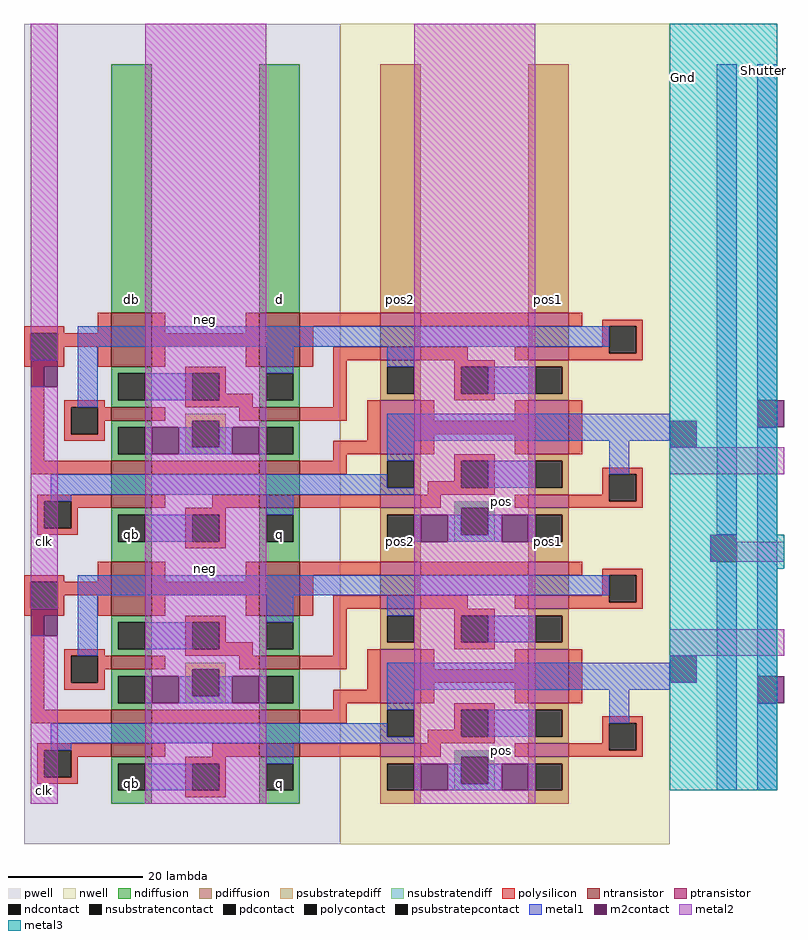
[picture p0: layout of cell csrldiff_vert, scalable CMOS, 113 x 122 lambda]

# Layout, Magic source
magic
tech scmos
<< nwell >>
rect -69 2979 -20 3101
<< pwell >>
rect -116 2979 -69 3101
<< ntransistor >>
rect -103 3050 -97 3058
rect -81 3050 -75 3058
rect -103 3042 -97 3044
rect -81 3042 -75 3044
rect -103 3034 -97 3036
rect -81 3034 -75 3036
rect -103 3029 -97 3031
rect -81 3029 -75 3031
rect -103 3013 -97 3021
rect -81 3013 -75 3021
rect -103 3005 -97 3007
rect -81 3005 -75 3007
rect -103 2997 -97 2999
rect -81 2997 -75 2999
rect -103 2992 -97 2994
rect -81 2992 -75 2994
<< ptransistor >>
rect -63 3056 -57 3058
rect -41 3056 -35 3058
rect -63 3051 -57 3053
rect -41 3051 -35 3053
rect -63 3037 -57 3045
rect -41 3037 -35 3045
rect -63 3029 -57 3031
rect -41 3029 -35 3031
rect -63 3019 -57 3021
rect -41 3019 -35 3021
rect -63 3014 -57 3016
rect -41 3014 -35 3016
rect -63 3000 -57 3008
rect -41 3000 -35 3008
rect -63 2992 -57 2994
rect -41 2992 -35 2994
<< ndiffusion >>
rect -103 3058 -97 3095
rect -81 3058 -75 3095
rect -103 3049 -97 3050
rect -103 3045 -102 3049
rect -98 3045 -97 3049
rect -103 3044 -97 3045
rect -81 3049 -75 3050
rect -81 3045 -80 3049
rect -76 3045 -75 3049
rect -81 3044 -75 3045
rect -103 3041 -97 3042
rect -103 3037 -102 3041
rect -98 3037 -97 3041
rect -81 3041 -75 3042
rect -81 3037 -80 3041
rect -76 3037 -75 3041
rect -103 3036 -97 3037
rect -81 3036 -75 3037
rect -103 3031 -97 3034
rect -81 3031 -75 3034
rect -103 3028 -97 3029
rect -103 3024 -102 3028
rect -98 3024 -97 3028
rect -103 3021 -97 3024
rect -81 3028 -75 3029
rect -81 3024 -80 3028
rect -76 3024 -75 3028
rect -81 3021 -75 3024
rect -103 3012 -97 3013
rect -103 3008 -102 3012
rect -98 3008 -97 3012
rect -103 3007 -97 3008
rect -81 3012 -75 3013
rect -81 3008 -80 3012
rect -76 3008 -75 3012
rect -81 3007 -75 3008
rect -103 3004 -97 3005
rect -103 3000 -102 3004
rect -98 3000 -97 3004
rect -81 3004 -75 3005
rect -81 3000 -80 3004
rect -76 3000 -75 3004
rect -103 2999 -97 3000
rect -81 2999 -75 3000
rect -103 2994 -97 2997
rect -81 2994 -75 2997
rect -103 2991 -97 2992
rect -103 2987 -102 2991
rect -98 2987 -97 2991
rect -103 2985 -97 2987
rect -81 2991 -75 2992
rect -81 2987 -80 2991
rect -76 2987 -75 2991
rect -81 2985 -75 2987
<< pdiffusion >>
rect -63 3058 -57 3095
rect -41 3058 -35 3095
rect -63 3053 -57 3056
rect -41 3053 -35 3056
rect -63 3050 -57 3051
rect -63 3046 -62 3050
rect -58 3046 -57 3050
rect -63 3045 -57 3046
rect -41 3050 -35 3051
rect -41 3046 -40 3050
rect -36 3046 -35 3050
rect -41 3045 -35 3046
rect -63 3036 -57 3037
rect -63 3032 -62 3036
rect -58 3032 -57 3036
rect -63 3031 -57 3032
rect -41 3036 -35 3037
rect -41 3032 -40 3036
rect -36 3032 -35 3036
rect -41 3031 -35 3032
rect -63 3028 -57 3029
rect -63 3024 -62 3028
rect -58 3024 -57 3028
rect -41 3028 -35 3029
rect -41 3024 -40 3028
rect -36 3024 -35 3028
rect -63 3021 -57 3024
rect -41 3021 -35 3024
rect -63 3016 -57 3019
rect -41 3016 -35 3019
rect -63 3013 -57 3014
rect -63 3009 -62 3013
rect -58 3009 -57 3013
rect -63 3008 -57 3009
rect -41 3013 -35 3014
rect -41 3009 -40 3013
rect -36 3009 -35 3013
rect -41 3008 -35 3009
rect -63 2999 -57 3000
rect -63 2995 -62 2999
rect -58 2995 -57 2999
rect -63 2994 -57 2995
rect -41 2999 -35 3000
rect -41 2995 -40 2999
rect -36 2995 -35 2999
rect -41 2994 -35 2995
rect -63 2991 -57 2992
rect -63 2987 -62 2991
rect -58 2987 -57 2991
rect -41 2991 -35 2992
rect -41 2987 -40 2991
rect -36 2987 -35 2991
rect -63 2985 -57 2987
rect -41 2985 -35 2987
<< ndcontact >>
rect -102 3045 -98 3049
rect -80 3045 -76 3049
rect -102 3037 -98 3041
rect -80 3037 -76 3041
rect -102 3024 -98 3028
rect -80 3024 -76 3028
rect -102 3008 -98 3012
rect -80 3008 -76 3012
rect -102 3000 -98 3004
rect -80 3000 -76 3004
rect -102 2987 -98 2991
rect -80 2987 -76 2991
<< pdcontact >>
rect -62 3046 -58 3050
rect -40 3046 -36 3050
rect -62 3032 -58 3036
rect -40 3032 -36 3036
rect -62 3024 -58 3028
rect -40 3024 -36 3028
rect -62 3009 -58 3013
rect -40 3009 -36 3013
rect -62 2995 -58 2999
rect -40 2995 -36 2999
rect -62 2987 -58 2991
rect -40 2987 -36 2991
<< psubstratepdiff >>
rect -92 3042 -86 3043
rect -92 3038 -91 3042
rect -87 3038 -86 3042
rect -92 3037 -86 3038
rect -92 3005 -86 3006
rect -92 3001 -91 3005
rect -87 3001 -86 3005
rect -92 3000 -86 3001
<< nsubstratendiff >>
rect -52 3029 -46 3030
rect -52 3025 -51 3029
rect -47 3025 -46 3029
rect -52 3024 -46 3025
rect -52 2992 -46 2993
rect -52 2988 -51 2992
rect -47 2988 -46 2992
rect -52 2987 -46 2988
<< psubstratepcontact >>
rect -91 3038 -87 3042
rect -91 3001 -87 3005
<< nsubstratencontact >>
rect -51 3025 -47 3029
rect -51 2988 -47 2992
<< polysilicon >>
rect -116 3055 -110 3056
rect -105 3055 -103 3058
rect -116 3051 -115 3055
rect -111 3053 -103 3055
rect -111 3051 -110 3053
rect -116 3050 -110 3051
rect -105 3050 -103 3053
rect -97 3055 -95 3058
rect -83 3055 -81 3058
rect -97 3053 -81 3055
rect -97 3050 -95 3053
rect -83 3050 -81 3053
rect -75 3056 -63 3058
rect -57 3056 -41 3058
rect -35 3056 -33 3058
rect -30 3056 -24 3057
rect -75 3050 -73 3056
rect -30 3053 -29 3056
rect -70 3051 -63 3053
rect -57 3051 -50 3053
rect -43 3051 -41 3053
rect -35 3052 -29 3053
rect -25 3052 -24 3056
rect -35 3051 -24 3052
rect -115 3036 -113 3050
rect -110 3044 -104 3045
rect -92 3049 -86 3050
rect -92 3045 -91 3049
rect -87 3046 -86 3049
rect -87 3045 -82 3046
rect -92 3044 -82 3045
rect -70 3044 -68 3051
rect -52 3050 -46 3051
rect -52 3046 -51 3050
rect -47 3046 -46 3050
rect -52 3045 -46 3046
rect -110 3040 -109 3044
rect -105 3042 -103 3044
rect -97 3042 -95 3044
rect -84 3042 -81 3044
rect -75 3042 -68 3044
rect -105 3040 -104 3042
rect -110 3039 -104 3040
rect -65 3039 -63 3045
rect -70 3037 -63 3039
rect -57 3042 -55 3045
rect -43 3042 -41 3045
rect -57 3040 -41 3042
rect -57 3037 -55 3040
rect -43 3037 -41 3040
rect -35 3037 -33 3045
rect -70 3036 -68 3037
rect -115 3034 -103 3036
rect -97 3034 -81 3036
rect -75 3034 -68 3036
rect -52 3036 -46 3037
rect -52 3033 -51 3036
rect -56 3032 -51 3033
rect -47 3032 -46 3036
rect -56 3031 -46 3032
rect -30 3034 -24 3035
rect -30 3031 -29 3034
rect -114 3030 -103 3031
rect -114 3026 -113 3030
rect -109 3029 -103 3030
rect -97 3029 -95 3031
rect -88 3029 -81 3031
rect -75 3029 -63 3031
rect -57 3029 -54 3031
rect -43 3029 -41 3031
rect -35 3030 -29 3031
rect -25 3030 -24 3034
rect -35 3029 -24 3030
rect -109 3026 -108 3029
rect -114 3025 -108 3026
rect -92 3028 -86 3029
rect -92 3024 -91 3028
rect -87 3024 -86 3028
rect -92 3023 -86 3024
rect -116 3018 -110 3019
rect -105 3018 -103 3021
rect -116 3014 -115 3018
rect -111 3016 -103 3018
rect -111 3014 -110 3016
rect -116 3013 -110 3014
rect -105 3013 -103 3016
rect -97 3018 -95 3021
rect -83 3018 -81 3021
rect -97 3016 -81 3018
rect -97 3013 -95 3016
rect -83 3013 -81 3016
rect -75 3019 -63 3021
rect -57 3019 -41 3021
rect -35 3019 -33 3021
rect -30 3019 -24 3020
rect -75 3013 -73 3019
rect -30 3016 -29 3019
rect -70 3014 -63 3016
rect -57 3014 -50 3016
rect -43 3014 -41 3016
rect -35 3015 -29 3016
rect -25 3015 -24 3019
rect -35 3014 -24 3015
rect -115 2999 -113 3013
rect -110 3007 -104 3008
rect -92 3012 -86 3013
rect -92 3008 -91 3012
rect -87 3009 -86 3012
rect -87 3008 -82 3009
rect -92 3007 -82 3008
rect -70 3007 -68 3014
rect -52 3013 -46 3014
rect -52 3009 -51 3013
rect -47 3009 -46 3013
rect -52 3008 -46 3009
rect -110 3003 -109 3007
rect -105 3005 -103 3007
rect -97 3005 -95 3007
rect -84 3005 -81 3007
rect -75 3005 -68 3007
rect -105 3003 -104 3005
rect -110 3002 -104 3003
rect -65 3002 -63 3008
rect -70 3000 -63 3002
rect -57 3005 -55 3008
rect -43 3005 -41 3008
rect -57 3003 -41 3005
rect -57 3000 -55 3003
rect -43 3000 -41 3003
rect -35 3000 -33 3008
rect -70 2999 -68 3000
rect -115 2997 -103 2999
rect -97 2997 -81 2999
rect -75 2997 -68 2999
rect -52 2999 -46 3000
rect -52 2996 -51 2999
rect -56 2995 -51 2996
rect -47 2995 -46 2999
rect -56 2994 -46 2995
rect -30 2997 -24 2998
rect -30 2994 -29 2997
rect -114 2993 -103 2994
rect -114 2989 -113 2993
rect -109 2992 -103 2993
rect -97 2992 -95 2994
rect -88 2992 -81 2994
rect -75 2992 -63 2994
rect -57 2992 -54 2994
rect -43 2992 -41 2994
rect -35 2993 -29 2994
rect -25 2993 -24 2997
rect -35 2992 -24 2993
rect -109 2989 -108 2992
rect -114 2988 -108 2989
rect -92 2991 -86 2992
rect -92 2987 -91 2991
rect -87 2987 -86 2991
rect -92 2986 -86 2987
<< polycontact >>
rect -115 3051 -111 3055
rect -29 3052 -25 3056
rect -91 3045 -87 3049
rect -51 3046 -47 3050
rect -109 3040 -105 3044
rect -51 3032 -47 3036
rect -113 3026 -109 3030
rect -29 3030 -25 3034
rect -91 3024 -87 3028
rect -115 3014 -111 3018
rect -29 3015 -25 3019
rect -91 3008 -87 3012
rect -51 3009 -47 3013
rect -109 3003 -105 3007
rect -51 2995 -47 2999
rect -113 2989 -109 2993
rect -29 2993 -25 2997
rect -91 2987 -87 2991
<< metal1 >>
rect -108 3053 -29 3056
rect -108 3044 -105 3053
rect -80 3049 -76 3053
rect -98 3045 -91 3049
rect -62 3050 -58 3053
rect -47 3046 -40 3050
rect -98 3037 -97 3041
rect -93 3038 -91 3041
rect -87 3038 -85 3041
rect -93 3037 -85 3038
rect -81 3037 -80 3041
rect -62 3039 -20 3043
rect -62 3036 -58 3039
rect -112 3032 -62 3034
rect -47 3032 -40 3036
rect -29 3034 -26 3039
rect -112 3031 -58 3032
rect -112 3030 -109 3031
rect -80 3028 -76 3031
rect -98 3024 -91 3028
rect -58 3024 -57 3028
rect -53 3025 -51 3028
rect -47 3025 -45 3028
rect -53 3024 -45 3025
rect -41 3024 -40 3028
rect -13 3025 -10 3095
rect -108 3016 -29 3019
rect -108 3007 -105 3016
rect -80 3012 -76 3016
rect -98 3008 -91 3012
rect -62 3013 -58 3016
rect -47 3009 -40 3013
rect -98 3000 -97 3004
rect -93 3001 -91 3004
rect -87 3001 -85 3004
rect -93 3000 -85 3001
rect -81 3000 -80 3004
rect -62 3002 -20 3006
rect -62 2999 -58 3002
rect -112 2995 -62 2997
rect -47 2995 -40 2999
rect -29 2997 -26 3002
rect -112 2994 -58 2995
rect -112 2993 -109 2994
rect -80 2991 -76 2994
rect -98 2987 -91 2991
rect -58 2987 -57 2991
rect -53 2988 -51 2991
rect -47 2988 -45 2991
rect -53 2987 -45 2988
rect -41 2987 -40 2991
rect -13 2987 -10 3021
rect -7 3045 -4 3095
rect -7 3004 -4 3041
rect -7 2987 -4 3000
<< m2contact >>
rect -115 3047 -111 3051
rect -97 3037 -93 3041
rect -85 3037 -81 3041
rect -20 3038 -16 3042
rect -57 3024 -53 3028
rect -45 3024 -41 3028
rect -14 3021 -10 3025
rect -115 3010 -111 3014
rect -97 3000 -93 3004
rect -85 3000 -81 3004
rect -20 3003 -16 3007
rect -57 2987 -53 2991
rect -45 2987 -41 2991
rect -7 3041 -3 3045
rect -7 3000 -3 3004
<< metal2 >>
rect -115 3051 -111 3101
rect -115 3014 -111 3047
rect -115 2985 -111 3010
rect -98 3041 -80 3101
rect -98 3037 -97 3041
rect -93 3037 -85 3041
rect -81 3037 -80 3041
rect -98 3004 -80 3037
rect -98 3000 -97 3004
rect -93 3000 -85 3004
rect -81 3000 -80 3004
rect -98 2985 -80 3000
rect -58 3028 -40 3101
rect -20 3034 -3 3038
rect -58 3024 -57 3028
rect -53 3024 -45 3028
rect -41 3024 -40 3028
rect -58 2991 -40 3024
rect -10 3021 -3 3024
rect -20 3007 -3 3011
rect -58 2987 -57 2991
rect -53 2987 -45 2991
rect -41 2987 -40 2991
rect -58 2985 -40 2987
<< metal3 >>
rect -20 3025 -4 3101
rect -20 3020 -3 3025
rect -20 2987 -4 3020
<< labels >>
rlabel pdiffusion -38 3060 -38 3060 5 pos1
rlabel pdiffusion -60 3060 -60 3060 5 pos2
rlabel metal2 -45 3030 -45 3030 3 pos
rlabel metal2 -89 3057 -89 3057 5 neg
rlabel ndiffusion -78 3060 -78 3060 5 d
rlabel ndiffusion -100 3060 -100 3060 5 db
rlabel ndcontact -78 3025 -78 3025 1 q
rlabel ndcontact -100 3025 -100 3025 1 qb
rlabel ndiffusion -100 3024 -100 3024 5 db
rlabel ndiffusion -78 3024 -78 3024 5 d
rlabel pdiffusion -60 3024 -60 3024 5 pos2
rlabel pdiffusion -38 3024 -38 3024 5 pos1
rlabel metal2 -113 3024 -113 3024 2 clk
rlabel metal2 -113 2987 -113 2987 2 clk
rlabel ndcontact -100 2988 -100 2988 1 qb
rlabel ndcontact -78 2988 -78 2988 1 q
rlabel metal2 -89 3020 -89 3020 5 neg
rlabel metal2 -45 2993 -45 2993 3 pos
rlabel metal3 -18 3093 -18 3093 1 Gnd
rlabel metal1 -6 3094 -6 3094 5 Shutter
rlabel metal1 -11 3094 -11 3094 5 Reset
<< end >>
